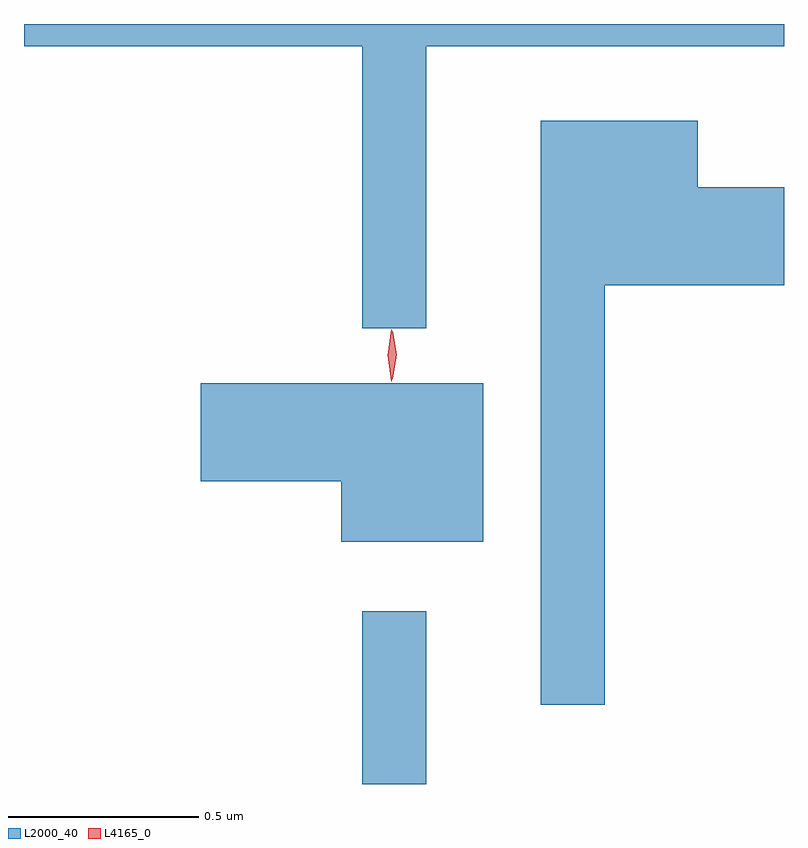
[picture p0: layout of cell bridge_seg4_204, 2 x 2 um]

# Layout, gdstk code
import gdstk
lib = gdstk.Library(unit=1e-6, precision=1e-09)
def R(c, l, rs):  # rectangles x0, y0, x1, y1
    for r in rs: c.add(gdstk.rectangle(r[:2], r[2:], *l))
def P(c, l, *ps):  # polygons
    for p in ps: c.add(gdstk.Polygon(p, *l))
L2000_40 = (2000, 40)
L4165_0 = (4165, 0)

bridge_seg4_204 = lib.new_cell('bridge_seg4_204')
R(bridge_seg4_204, L2000_40, [(1136.281,1263.934,1136.449,1264.388)])
P(bridge_seg4_204, L2000_40, [(1136.449,1265.876),(1137.391,1265.876),(1137.391,1265.934),(1135.391,1265.934),(1135.391,1265.876),(1136.281,1265.876),(1136.281,1265.133),(1136.449,1265.133)],
  [(1136.919,1265.246),(1137.391,1265.246),(1137.391,1265.504),(1137.164,1265.504),(1137.164,1265.679),(1136.751,1265.679),(1136.751,1264.143),(1136.919,1264.143)],
  [(1136.599,1264.989),(1135.856,1264.989),(1135.856,1264.731),(1136.226,1264.731),(1136.226,1264.571),(1136.599,1264.571)])
P(bridge_seg4_204, L4165_0, [(1136.361,1265),(1136.352,1265.063),(1136.361,1265.126),(1136.362,1265.127),(1136.362,1265.126),(1136.372,1265.063),(1136.362,1265),(1136.362,1265)],
  [(1136.358,1264.994),(1136.358,1264.994),(1136.348,1265.062),(1136.358,1265.13),(1136.358,1265.13),(1136.359,1265.13),(1136.368,1265.062),(1136.359,1264.994)])

lib.write_gds('bridge_seg4_204.gds')
